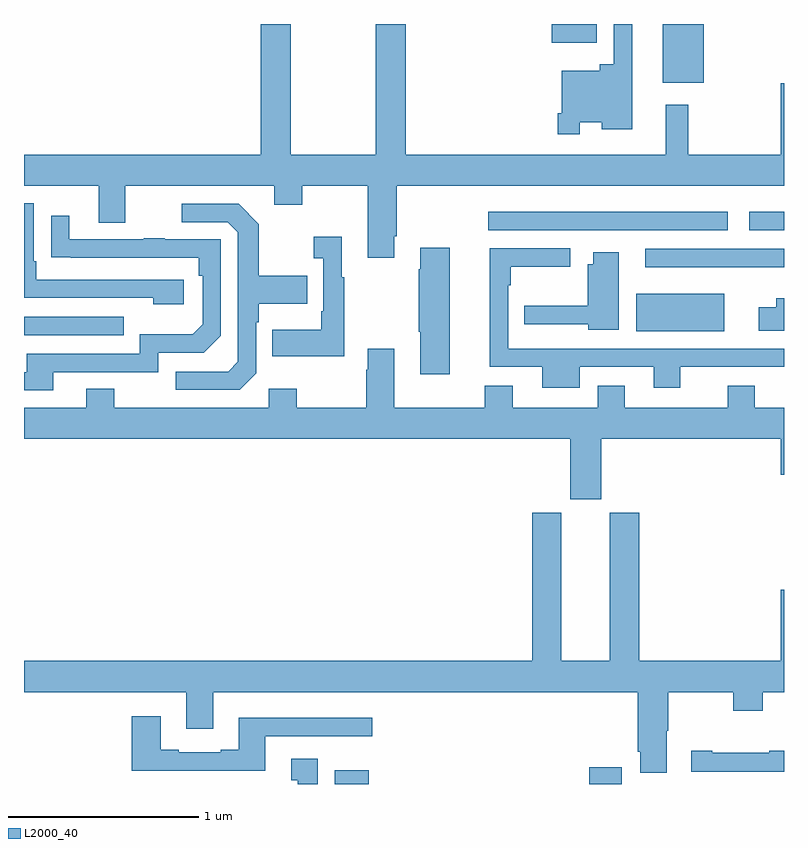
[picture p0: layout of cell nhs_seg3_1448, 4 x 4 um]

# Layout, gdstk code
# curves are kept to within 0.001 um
import gdstk
lib = gdstk.Library(unit=1e-6, precision=1e-09)
def R(c, l, rs):  # rectangles x0, y0, x1, y1
    for r in rs: c.add(gdstk.rectangle(r[:2], r[2:], *l))
def P(c, l, *ps):  # polygons
    for p in ps: c.add(gdstk.Polygon(p, *l))
L2000_40 = (2000, 40)

nhs_seg3_1448 = lib.new_cell('nhs_seg3_1448')
R(nhs_seg3_1448, L2000_40, [(186.635,732.4,186.814,732.472), (187.976,732.4,188.146,732.487), (185,734.763,185.525,734.859), (188.222,734.783,188.686,734.98), (188.271,735.119,189,735.216), (187.443,735.315,188.704,735.412), (188.817,735.315,189,735.412), (188.363,736.091,188.578,736.4), (187.778,736.301,188.014,736.4)])
P(nhs_seg3_1448, L2000_40, [(185,735.548),(185.393,735.548),(185.393,735.354),(185.533,735.354),(185.533,735.548),(186.317,735.548),(186.317,735.449),(186.465,735.449),(186.465,735.548),(186.809,735.548),(186.809,735.171),(186.949,735.171),(186.949,735.283),(186.962,735.283),(186.962,735.548),(189,735.548),(189,736.087),(188.984,736.087),(188.984,735.712),(188.495,735.712),(188.495,735.976),(188.378,735.976),(188.378,735.712),(187.01,735.712),(187.01,736.4),(186.85,736.4),(186.85,735.712),(186.405,735.712),(186.405,736.4),(186.245,736.4),(186.245,735.712),(185,735.712)],
  [(187.926,735.884),(188.042,735.884),(188.042,735.845),(188.2,735.845),(188.2,736.4),(188.103,736.4),(188.103,736.189),(188.03,736.189),(188.03,736.153),(187.83,736.153),(187.83,735.931),(187.81,735.931),(187.81,735.819),(187.926,735.819)],
  [(185.842,735.054),(185.065,735.054),(185.065,735.151),(185.052,735.151),(185.052,735.456),(185,735.456),(185,734.958),(185.681,734.958),(185.681,734.924),(185.842,734.924)],
  [(186.222,734.562),(186.222,734.831),(186.235,734.831),(186.235,734.927),(186.491,734.927),(186.491,735.075),(186.235,735.075),(186.235,735.347),(186.129,735.453),(185.829,735.453),(185.829,735.357),(186.072,735.357),(186.126,735.303),(186.126,734.622),(186.075,734.571),(185.799,734.571),(185.799,734.475),(186.135,734.475)],
  [(185.155,734.568),(185.706,734.568),(185.706,734.67),(185.946,734.67),(186.036,734.76),(186.036,735.267),(185.741,735.267),(185.741,735.272),(185.629,735.272),(185.629,735.267),(185.239,735.267),(185.239,735.391),(185.143,735.391),(185.143,735.172),(185.92,735.171),(185.92,735.074),(185.94,735.074),(185.94,734.82),(185.887,734.767),(185.61,734.767),(185.61,734.664),(185.015,734.664),(185.015,734.568),(185,734.568),(185,734.472),(185.155,734.472)],
  [(186.685,735.067),(186.673,735.067),(186.673,735.28),(186.525,735.28),(186.525,735.167),(186.576,735.167),(186.576,734.887),(186.564,734.887),(186.564,734.791),(186.307,734.791),(186.307,734.651),(186.685,734.651)],
  [(187.24,735.223),(187.085,735.223),(187.085,735.11),(187.078,735.11),(187.078,734.779),(187.085,734.779),(187.085,734.556),(187.24,734.556)],
  [(187.924,734.595),(188.315,734.595),(188.315,734.486),(188.455,734.486),(188.455,734.595),(189,734.595),(189,734.691),(187.548,734.691),(187.548,735.026),(187.561,735.026),(187.561,735.122),(187.876,735.122),(187.876,735.219),(187.451,735.219),(187.451,734.595),(187.727,734.595),(187.727,734.486),(187.924,734.486)],
  [(188.131,735.199),(187.997,735.199),(187.997,735.136),(187.967,735.136),(187.967,734.918),(187.633,734.918),(187.633,734.82),(187.971,734.82),(187.971,734.792),(188.131,734.792)],
  [(189,734.956),(188.96,734.956),(188.96,734.908),(188.868,734.908),(188.868,734.786),(189,734.786)],
  [(188.038,734.216),(188.984,734.216),(188.984,734.028),(189,734.028),(189,734.38),(188.845,734.38),(188.845,734.497),(188.705,734.497),(188.705,734.38),(188.161,734.38),(188.161,734.497),(188.021,734.497),(188.021,734.38),(187.573,734.38),(187.573,734.497),(187.426,734.497),(187.426,734.38),(186.949,734.38),(186.949,734.692),(186.809,734.692),(186.809,734.579),(186.802,734.579),(186.802,734.38),(186.435,734.38),(186.435,734.479),(186.288,734.479),(186.288,734.38),(185.475,734.38),(185.475,734.479),(185.327,734.479),(185.327,734.38),(185,734.38),(185,734.216),(187.874,734.216),(187.874,733.899),(188.038,733.899)],
  [(188.383,732.68),(188.391,732.68),(188.391,732.884),(188.734,732.884),(188.734,732.785),(188.889,732.785),(188.889,732.884),(189,732.884),(189,733.423),(188.984,733.423),(188.984,733.048),(188.237,733.048),(188.237,733.827),(188.084,733.827),(188.084,733.048),(187.828,733.048),(187.828,733.827),(187.676,733.827),(187.676,733.048),(185,733.048),(185,732.884),(185.855,732.884),(185.855,732.69),(185.995,732.69),(185.995,732.884),(188.231,732.884),(188.231,732.571),(188.243,732.571),(188.243,732.459),(188.383,732.459)],
  [(186.271,732.651),(186.832,732.651),(186.832,732.748),(186.131,732.748),(186.131,732.58),(186.035,732.58),(186.035,732.567),(185.815,732.567),(185.815,732.58),(185.719,732.58),(185.719,732.757),(185.567,732.757),(185.567,732.47),(186.271,732.47)],
  [(188.786,732.465),(189,732.465),(189,732.574),(188.923,732.574),(188.923,732.564),(188.623,732.564),(188.623,732.574),(188.511,732.574),(188.511,732.464),(188.786,732.464)],
  [(186.547,732.532),(186.407,732.532),(186.407,732.419),(186.44,732.419),(186.44,732.4),(186.547,732.4)])

lib.write_gds('nhs_seg3_1448.gds')
